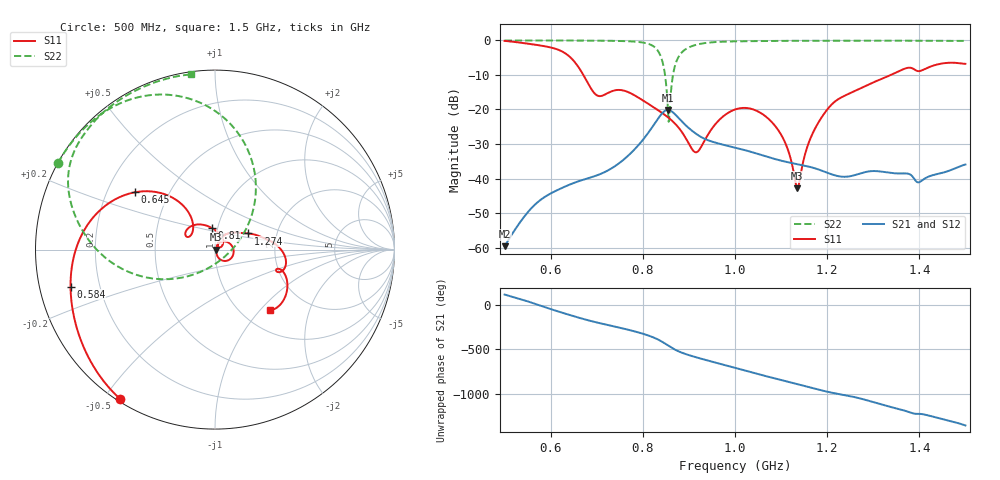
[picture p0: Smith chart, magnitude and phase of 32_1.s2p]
! TOUCHSTONE file generated by CST MICROWAVE STUDIO
! Date and time: Mon Oct 26 12:09:15 2020
! Project name: Scenario_1_Circular_Tissue_out_of_Line_v2.cst
! Parameters = {dy1=190.3; L_HA=400; MT=2.54; Rad_Dielectric=30; Rad_Lower=7.3; Rad_Upper=30; a_HA=580; a_WG=246; b_HA=500; b_WG=121; c_HA=0; c_WG=187; d_feed=85; dx1=173; h_feed=15; h_lower=18; h_upper=40}
! Header version: 2018
! Port assignment regex: !\s*Touchstone port\s*([0-9]+)\s*=\s*(CST MWS port|CST DS port)\s*([0-9]+|Zmin|Zmax)\s*\(\"(.*)\"\)(\s*mode\s*([0-9]+))?.*
! Touchstone port assignment:
! Touchstone port 1 = CST MWS port 1 ("")
! Touchstone port 2 = CST MWS port 2 ("")
# GHz S DB R 50
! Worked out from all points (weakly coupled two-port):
!   1003 points, 500 MHz to 1.5 GHz, reference 50 ohm
!   highest |S21| = -20.15 dB at 854 MHz (marker M1); lowest = -59.6 dB at 500 MHz (marker M2)
!   lowest |S11| = -42.9 dB at 1.135 GHz (marker M3), VSWR 1.01, Z = 50.7 - j0.115 ohm
!   |S11| at or under -10 dB: 670.8 MHz to 1.338 GHz (666.9 MHz wide, 66.4 % of centre)
!   |S22| runs from -23.6 to 0.0 dB; largest |S21 - S12| = 5.2e-06
!   S11 on the Smith chart (normalised r, x): 500 MHz: 0.01, -0.55; 584 MHz: 0.09, -0.13; 645 MHz: 0.32, +0.29; 810 MHz: 0.93, +0.23; 1.274 GHz: 1.42, +0.27; 1.5 GHz: 1.33, -1.14
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0.5  -0.13 -122.6  -59.59 119.6  -59.59 119.6  -0.01 151.1
0.584  -1.61 -165.6  -45.61 -17.2  -45.61 -17.2  -0.02 145.3
0.645  -5.19 144.5  -41.55 -117.7  -41.55 -117.7  -0.03 140.4
0.667  -9.13 127.9  -40.50 -151.2  -40.50 -151.2  -0.04 138.3
0.701  -15.95 141.6  -39.05 162.6  -39.05 162.6  -0.07 134.7
0.81  -18.20 98.9  -27.07 19.6  -27.07 19.6  -0.91 106.8
0.834  -20.29 79.6  -22.45 -32.0  -22.45 -32.0  -3.28 81.1
0.845  -21.31 69.5  -20.70 -64.7  -20.70 -64.7  -7.55 57.1
0.854  -22.21 60.6  -20.15 -95.0  -20.15 -95.0  -19.07 9.3
0.859  -22.75 55.4  -20.29 -111.6  -20.29 -111.6  -18.59 -113.3
0.873  -24.55 40.6  -21.82 -152.1  -21.82 -152.1  -6.03 -165.7
0.894  -28.51 24.0  -24.70 164.3  -24.70 164.3  -2.45 171.0
0.918  -32.29 45.7  -27.26 126.4  -27.27 126.4  -1.18 158.9
1  -20.01 6.7  -31.03 10.9  -31.03 10.9  -0.27 140.1
1.086  -24.58 -63.7  -34.33 -108.8  -34.33 -108.8  -0.14 131.0
1.135  -42.86 -9.0  -35.83 -173.4  -35.82 -173.4  -0.11 126.8
1.167  -27.36 64.4  -36.78 143.2  -36.78 143.2  -0.10 124.2
1.211  -18.40 49.9  -38.84 88.1  -38.84 88.1  -0.09 120.8
1.274  -13.75 26.0  -38.44 20.9  -38.44 20.9  -0.08 116.0
1.334  -10.24 9.5  -38.31 -67.3  -38.31 -67.3  -0.08 111.5
1.399  -8.91 -18.2  -41.09 -150.1  -41.09 -150.1  -0.09 106.4
1.5  -6.77 -47.7  -35.95 78.5  -35.94 78.5  -0.13 97.8
